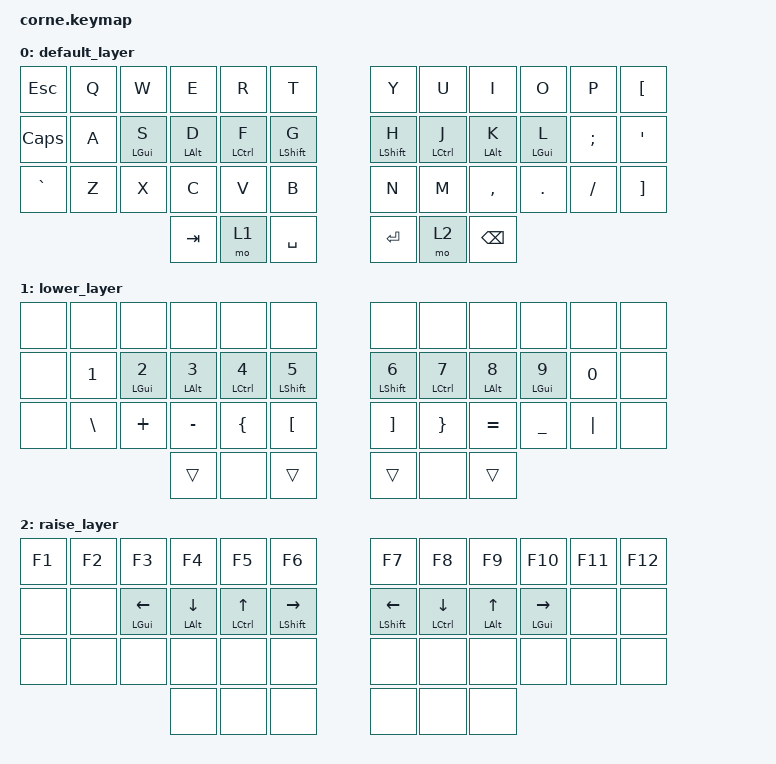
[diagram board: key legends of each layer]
/*
 * Copyright (c) 2020 The ZMK Contributors
 *
 * SPDX-License-Identifier: MIT
 */

#include <behaviors.dtsi>
#include <dt-bindings/zmk/keys.h>

/ {
    combos {
        compatible = "zmk,combos";

        combo_esc {
            timeout-ms = <50>;
            key-positions = <19 20>;
            bindings = <&kp ESC>;
        };
    };

    behaviors {
        ss_hs_modmorph: ss_hs_modmorph {
            compatible = "zmk,behavior-mod-morph";
            label = "SS_HS_MODMORPH";
            bindings = <&kp M>, <&kp RIGHT_BRACKET>;

            #binding-cells = <0>;
            mods = <(MOD_LSFT|MOD_RSFT)>;
        };

        kh_hs_tapdance: kh_hs_tapdance {
            compatible = "zmk,behavior-tap-dance";
            label = "KH_HS_TAPDANCE";
            #binding-cells = <0>;
            tapping-term-ms = <200>;
            bindings = <&kp LEFT_BRACKET>, <&kp RIGHT_BRACKET>;
        };

        hrm: hrm {
            compatible = "zmk,behavior-hold-tap";
            #binding-cells = <2>;
            flavor = "tap-preferred";
            tapping-term-ms = <150>;
            quick-tap-ms = <150>;
            require-prior-idle-ms = <100>;
            bindings = <&kp>, <&kp>;
        };
    };

    keymap {
        compatible = "zmk,keymap";

        default_layer {
            // -----------------------------------------------------------------------------------------
            // |  TAB |  Q  |  W  |  E  |  R  |  T  |   |  Y  |  U   |  I  |  O  |  P  | BKSP |
            // | CTRL |  A  |  S  |  D  |  F  |  G  |   |  H  |  J   |  K  |  L  |  ;  |  '   |
            // | SHFT |  Z  |  X  |  C  |  V  |  B  |   |  N  |  M   |  ,  |  .  |  /  | ESC  |
            //                    | GUI | LWR | SPC |   | ENT | RSE  | ALT |

            bindings = <
&kp ESCAPE    &kp Q  &kp W            &kp E            &kp R         &kp T                &kp Y              &kp U         &kp I            &kp O            &kp P      &kp LEFT_BRACKET
&kp CAPSLOCK  &kp A  &hrm LEFT_GUI S  &hrm LEFT_ALT D  &hrm LCTRL F  &hrm LEFT_SHIFT G    &hrm LEFT_SHIFT H  &hrm LCTRL J  &hrm LEFT_ALT K  &hrm LEFT_GUI L  &kp SEMI   &kp SQT
&kp GRAVE     &kp Z  &kp X            &kp C            &kp V         &kp B                &kp N              &kp M         &kp COMMA        &kp DOT          &kp SLASH  &kp RIGHT_BRACKET
                                      &kp TAB          &mo 1         &kp SPACE            &kp RET            &mo 2         &kp BACKSPACE
            >;
        };

        lower_layer {
            // -----------------------------------------------------------------------------------------
            // |  TAB |  1  |  2  |  3  |  4  |  5  |   |  6  |  7  |  8  |  9  |  0  | BKSP |
            // | BTCLR| BT1 | BT2 | BT3 | BT4 | BT5 |   | LFT | DWN |  UP | RGT |     |      |
            // | SHFT |     |     |     |     |     |   |     |     |     |     |     |      |
            //                    | GUI |     | SPC |   | ENT |     | ALT |

            bindings = <
&none  &none          &none                   &none                   &none                &none                 &none                     &none            &none             &none             &none     &none
&none  &kp NUMBER_1   &hrm LEFT_GUI NUMBER_2  &hrm LEFT_ALT NUMBER_3  &hrm LCTRL NUMBER_4  &hrm LEFT_SHIFT N5    &hrm LEFT_SHIFT NUMBER_6  &hrm LCTRL N7    &hrm LEFT_ALT N8  &hrm LEFT_GUI N9  &kp N0    &none
&none  &kp BACKSLASH  &kp PLUS                &kp MINUS               &kp LEFT_BRACE       &kp LEFT_BRACKET      &kp RIGHT_BRACKET         &kp RIGHT_BRACE  &kp EQUAL         &kp UNDERSCORE    &kp PIPE  &none
                                              &trans                  &none                &trans                &trans                    &none            &trans
            >;
        };

        raise_layer {
            // -----------------------------------------------------------------------------------------
            // |  TAB |  !  |  @  |  #  |  $  |  %  |   |  ^  |  &  |  *  |  (  |  )  | BKSP |
            // | CTRL |     |     |     |     |     |   |  -  |  =  |  [  |  ]  |  \  |  `   |
            // | SHFT |     |     |     |     |     |   |  _  |  +  |  {  |  }  | "|" |  ~   |
            //                    | GUI |     | SPC |   | ENT |     | ALT |

            bindings = <
&kp F1  &kp F2  &kp F3              &kp F4              &kp F5               &kp F6                   &kp F7                &kp F8           &kp F9                  &kp F10                    &kp F11  &kp F12
&none   &none   &hrm LEFT_GUI LEFT  &hrm LEFT_ALT DOWN  &hrm LCTRL UP_ARROW  &hrm LEFT_SHIFT RIGHT    &hrm LEFT_SHIFT LEFT  &hrm LCTRL DOWN  &hrm LEFT_ALT UP_ARROW  &hrm LEFT_GUI RIGHT_ARROW  &none    &none
&none   &none   &none               &none               &none                &none                    &none                 &none            &none                   &none                      &none    &none
                                    &none               &none                &none                    &none                 &none            &none
            >;
        };
    };
};
